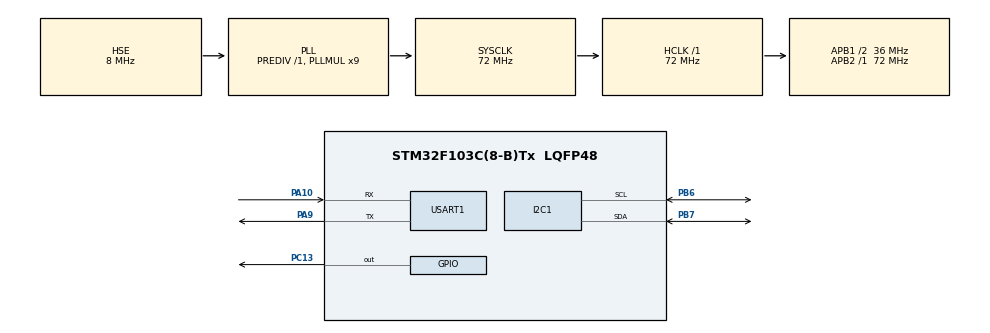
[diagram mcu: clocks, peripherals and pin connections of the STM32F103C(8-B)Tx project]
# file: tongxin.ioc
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Mcu.Family=STM32F1
Mcu.Name=STM32F103C(8-B)Tx
Mcu.Package=LQFP48
NVIC.PriorityGroup=NVIC_PRIORITYGROUP_4
NVIC.USART1_IRQn=true\:6\:0\:true\:false\:true\:true\:true\:true
PA10.Mode=Asynchronous
PA10.Signal=USART1_RX
PA13.Mode=Serial_Wire
PA13.Signal=SYS_JTMS-SWDIO
PA14.Mode=Serial_Wire
PA14.Signal=SYS_JTCK-SWCLK
PA9.Mode=Asynchronous
PA9.Signal=USART1_TX
PB6.Mode=I2C
PB6.Signal=I2C1_SCL
PB7.Mode=I2C
PB7.Signal=I2C1_SDA
PC13-TAMPER-RTC.Signal=GPIO_Output
PD0-OSC_IN.Mode=HSE-External-Oscillator
PD0-OSC_IN.Signal=RCC_OSC_IN
PD1-OSC_OUT.Mode=HSE-External-Oscillator
PD1-OSC_OUT.Signal=RCC_OSC_OUT
ProjectManager.HeapSize=0x200
ProjectManager.StackSize=0x400
ProjectManager.TargetToolchain=Makefile
RCC.AHBFreq_Value=72000000
RCC.APB1CLKDivider=RCC_HCLK_DIV2
RCC.APB1Freq_Value=36000000
RCC.APB1TimFreq_Value=72000000
RCC.APB2Freq_Value=72000000
RCC.APB2TimFreq_Value=72000000
RCC.HCLKFreq_Value=72000000
RCC.PLLMUL=RCC_PLL_MUL9
RCC.PLLSourceVirtual=RCC_PLLSOURCE_HSE
RCC.SYSCLKFreq_VALUE=72000000
RCC.SYSCLKSource=RCC_SYSCLKSOURCE_PLLCLK
RCC.USBFreq_Value=72000000
USART1.VirtualMode=VM_ASYNC
board=custom

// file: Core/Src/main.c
/* USER CODE BEGIN Header */
/**
  ******************************************************************************
  * @file           : main.c
  * @brief          : Main program body
  ******************************************************************************
  * @attention
  *
  * Copyright (c) 2026 STMicroelectronics.
  * All rights reserved.
  *
  * This software is licensed under terms that can be found in the LICENSE file
  * in the root directory of this software component.
  * If no LICENSE file comes with this software, it is provided AS-IS.
  *
  ******************************************************************************
  */
/* USER CODE END Header */
#include "main.h"
#include "i2c.h"
#include "usart.h"
#include "gpio.h"
#include "OLED.h"

/* USER CODE BEGIN Includes */
#include<math.h>

/* USER CODE END Includes */

void SystemClock_Config(void);

/* USER CODE BEGIN 0 */
uint8_t re_date[4];
volatile uint8_t a=1;
float t=0;
float data[1];
float b=0;
uint8_t tail[4] = {0x00, 0x00, 0x80, 0x7f};

/* STM32 版本 */

/* USER CODE END 0 */

int main(void)
{

  /* MCU Configuration--------------------------------------------------------*/

  /* Reset of all peripherals, Initializes the Flash interface and the Systick. */
  HAL_Init();

  /* Configure the system clock */
  SystemClock_Config();

  /* Initialize all configured peripherals */
  MX_GPIO_Init();
  MX_USART1_UART_Init();
  MX_I2C1_Init();
  /* USER CODE BEGIN 2 */

  HAL_UART_Receive_IT(&huart1,re_date,1);

OLED_init();
OLED_operate_gram(PEN_CLEAR);
OLED_refresh_gram();
OLED_LOGO();
HAL_Delay(500);
OLED_refresh_gram();
OLED_operate_gram(PEN_CLEAR);
 OLED_show_string(0, 0, (uint8_t *)"sine");
 OLED_refresh_gram();

  /* USER CODE END 2 */

  /* Infinite loop */
  while (1)
  {

    /* USER CODE BEGIN 3 */
    if(a==1){

        t += 0.02;
        data[0] = 2*sinf(t*3.1415926/2);
        HAL_UART_Transmit(&huart1, (uint8_t *)data, sizeof(float), 10);

        HAL_UART_Transmit(&huart1, tail, 4, 10);
        HAL_Delay(10);
    }
    if(a==2){

        t += 0.01;
        if(t>0.5) t-=0.505;
        data[0] = -1+4*t;
        HAL_UART_Transmit(&huart1, (uint8_t *)data, sizeof(float), 10);
        HAL_UART_Transmit(&huart1, tail, 4, 10);
        HAL_Delay(10);
    }
    if(a==3){
        t += 0.02;
        if(t>3) t-=3.02;
        if(t<=1.5) b=-0.5;
        if(t>1.5) b=0.5;
        data[0] =b;
        HAL_UART_Transmit(&huart1, (uint8_t *)data, sizeof(float) , 10);
        HAL_UART_Transmit(&huart1, tail, 4, 10);
        HAL_Delay(10);
    }

}
  /* USER CODE END 3 */
}

void SystemClock_Config(void)
{
  RCC_OscInitTypeDef RCC_OscInitStruct = {0};
  RCC_ClkInitTypeDef RCC_ClkInitStruct = {0};

  /** Initializes the RCC Oscillators according to the specified parameters
  * in the RCC_OscInitTypeDef structure.
  */
  RCC_OscInitStruct.OscillatorType = RCC_OSCILLATORTYPE_HSE;
  RCC_OscInitStruct.HSEState = RCC_HSE_ON;
  RCC_OscInitStruct.HSEPredivValue = RCC_HSE_PREDIV_DIV1;
  RCC_OscInitStruct.HSIState = RCC_HSI_ON;
  RCC_OscInitStruct.PLL.PLLState = RCC_PLL_ON;
  RCC_OscInitStruct.PLL.PLLSource = RCC_PLLSOURCE_HSE;
  RCC_OscInitStruct.PLL.PLLMUL = RCC_PLL_MUL9;
  if (HAL_RCC_OscConfig(&RCC_OscInitStruct) != HAL_OK)
  {
    Error_Handler();
  }

  /** Initializes the CPU, AHB and APB buses clocks
  */
  RCC_ClkInitStruct.ClockType = RCC_CLOCKTYPE_HCLK|RCC_CLOCKTYPE_SYSCLK
                              |RCC_CLOCKTYPE_PCLK1|RCC_CLOCKTYPE_PCLK2;
  RCC_ClkInitStruct.SYSCLKSource = RCC_SYSCLKSOURCE_PLLCLK;
  RCC_ClkInitStruct.AHBCLKDivider = RCC_SYSCLK_DIV1;
  RCC_ClkInitStruct.APB1CLKDivider = RCC_HCLK_DIV2;
  RCC_ClkInitStruct.APB2CLKDivider = RCC_HCLK_DIV1;

  if (HAL_RCC_ClockConfig(&RCC_ClkInitStruct, FLASH_LATENCY_2) != HAL_OK)
  {
    Error_Handler();
  }
}

/* USER CODE BEGIN 4 */
void HAL_UART_RxCpltCallback(UART_HandleTypeDef *huart){
  if(re_date[0]=='1'){
    OLED_operate_gram(PEN_CLEAR);
    OLED_show_string(0, 0, (uint8_t *)"sine");
    OLED_refresh_gram();
    a=1;
  }
  if(re_date[0]=='2'){
    a=2;
    OLED_operate_gram(PEN_CLEAR);
    OLED_show_string(0, 0, (uint8_t *)"sawtooth");
    OLED_refresh_gram();
  }
  if(re_date[0]=='3'){
    a=3;
    OLED_operate_gram(PEN_CLEAR);
    OLED_show_string(0, 0, (uint8_t *)"square");
    OLED_refresh_gram();
  }
HAL_UART_Receive_IT(&huart1,re_date,1);
t=0;
}

/* USER CODE END 4 */

void Error_Handler(void)
{
  __disable_irq();
  while (1)
  {
  }
}
